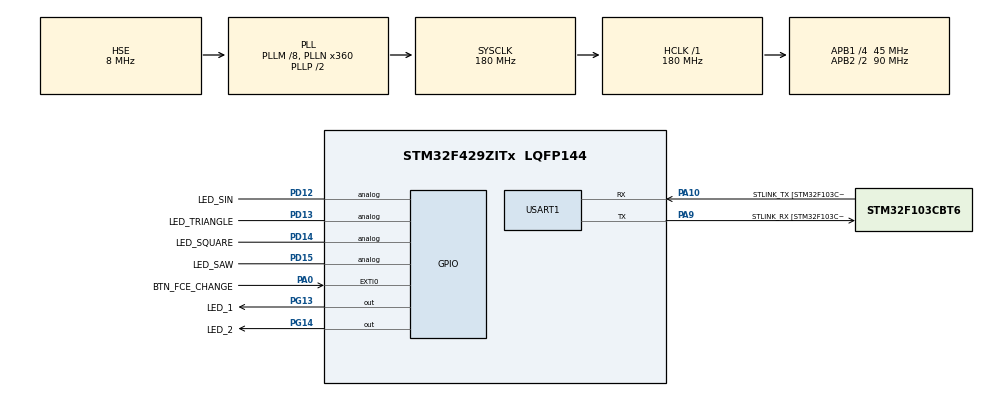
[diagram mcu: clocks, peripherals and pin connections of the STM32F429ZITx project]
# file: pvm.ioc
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Mcu.Family=STM32F4
Mcu.Name=STM32F429ZITx
Mcu.Package=LQFP144
NVIC.EXTI0_IRQn=true\:0\:0\:false\:false\:true\:true
NVIC.PriorityGroup=NVIC_PRIORITYGROUP_4
NVIC.TIM6_DAC_IRQn=true\:0\:0\:false\:false\:true\:false
NVIC.TimeBase=TIM6_DAC_IRQn
NVIC.TimeBaseIP=TIM6
PA0/WKUP.GPIO_Label=BTN_FCE_CHANGE
PA0/WKUP.GPIO_PuPd=GPIO_PULLDOWN
PA0/WKUP.Signal=GPXTI0
PA10.GPIO_Label=STLINK_TX [STM32F103CBT6_PA2]
PA10.Mode=Asynchronous
PA10.Signal=USART1_RX
PA13.GPIO_Label=SWDIO
PA13.Signal=SYS_JTMS-SWDIO
PA14.GPIO_Label=SWCLK
PA14.Signal=SYS_JTCK-SWCLK
PA9.GPIO_Label=STLINK_RX [STM32F103CBT6_PA3]
PA9.Mode=Asynchronous
PA9.Signal=USART1_TX
PC14/OSC32_IN.GPIO_Label=PC14-OSC32_IN
PC14/OSC32_IN.Signal=RCC_OSC32_IN
PC15/OSC32_OUT.GPIO_Label=PC15-OSC32_OUT
PC15/OSC32_OUT.Signal=RCC_OSC32_OUT
PD12.GPIO_Label=LED_SIN
PD12.Signal=GPIO_Analog
PD13.GPIO_Label=LED_TRIANGLE
PD13.Signal=GPIO_Analog
PD14.GPIO_Label=LED_SQUARE
PD14.Signal=GPIO_Analog
PD15.GPIO_Label=LED_SAW
PD15.Signal=GPIO_Analog
PG13.GPIO_Label=LED_1
PG13.Signal=GPIO_Output
PG14.GPIO_Label=LED_2
PG14.Signal=GPIO_Output
PH0/OSC_IN.Mode=HSE-External-Oscillator
PH0/OSC_IN.Signal=RCC_OSC_IN
PH1/OSC_OUT.Mode=HSE-External-Oscillator
PH1/OSC_OUT.Signal=RCC_OSC_OUT
ProjectManager.HeapSize=0x200
ProjectManager.StackSize=0x400
ProjectManager.TargetToolchain=SW4STM32
RCC.48MHZClocksFreq_Value=45000000
RCC.AHBFreq_Value=180000000
RCC.APB1CLKDivider=RCC_HCLK_DIV4
RCC.APB1Freq_Value=45000000
RCC.APB1TimFreq_Value=90000000
RCC.APB2CLKDivider=RCC_HCLK_DIV2
RCC.APB2Freq_Value=90000000
RCC.APB2TimFreq_Value=180000000
RCC.CortexFreq_Value=22500000
RCC.Cortex_Div=SYSTICK_CLKSOURCE_HCLK_DIV8
RCC.HCLKFreq_Value=180000000
RCC.HSE_VALUE=8000000
RCC.HSI_VALUE=16000000
RCC.LSE_VALUE=32768
RCC.PLLM=8
RCC.PLLN=360
RCC.PLLQ=8
RCC.PLLSAIN=420
RCC.PLLSourceVirtual=RCC_PLLSOURCE_HSE
RCC.SYSCLKFreq_VALUE=180000000
RCC.SYSCLKSource=RCC_SYSCLKSOURCE_PLLCLK
RCC.VCOOutputFreq_Value=360000000
USART1.VirtualMode=VM_ASYNC
VP_SYS_VS_tim6.Mode=TIM6
board=STM32F429I-DISC1

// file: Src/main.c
/**
  ******************************************************************************
  * File Name          : main.c
  * Description        : Main program body
  ******************************************************************************
  ** This notice applies to any and all portions of this file
  * that are not between comment pairs USER CODE BEGIN and
  * USER CODE END. Other portions of this file, whether
  * inserted by the user or by software development tools
  * are owned by their respective copyright owners.
  *
  * COPYRIGHT(c) 2018 STMicroelectronics
  *
  * Redistribution and use in source and binary forms, with or without modification,
  * are permitted provided that the following conditions are met:
  *   1. Redistributions of source code must retain the above copyright notice,
  *      this list of conditions and the following disclaimer.
  *   2. Redistributions in binary form must reproduce the above copyright notice,
  *      this list of conditions and the following disclaimer in the documentation
  *      and/or other materials provided with the distribution.
  *   3. Neither the name of STMicroelectronics nor the names of its contributors
  *      may be used to endorse or promote products derived from this software
  *      without specific prior written permission.
  *
  * THIS SOFTWARE IS PROVIDED BY THE COPYRIGHT HOLDERS AND CONTRIBUTORS "AS IS"
  * AND ANY EXPRESS OR IMPLIED WARRANTIES, INCLUDING, BUT NOT LIMITED TO, THE
  * IMPLIED WARRANTIES OF MERCHANTABILITY AND FITNESS FOR A PARTICULAR PURPOSE ARE
  * DISCLAIMED. IN NO EVENT SHALL THE COPYRIGHT HOLDER OR CONTRIBUTORS BE LIABLE
  * FOR ANY DIRECT, INDIRECT, INCIDENTAL, SPECIAL, EXEMPLARY, OR CONSEQUENTIAL
  * DAMAGES (INCLUDING, BUT NOT LIMITED TO, PROCUREMENT OF SUBSTITUTE GOODS OR
  * SERVICES; LOSS OF USE, DATA, OR PROFITS; OR BUSINESS INTERRUPTION) HOWEVER
  * CAUSED AND ON ANY THEORY OF LIABILITY, WHETHER IN CONTRACT, STRICT LIABILITY,
  * OR TORT (INCLUDING NEGLIGENCE OR OTHERWISE) ARISING IN ANY WAY OUT OF THE USE
  * OF THIS SOFTWARE, EVEN IF ADVISED OF THE POSSIBILITY OF SUCH DAMAGE.
  *
  ******************************************************************************
  */

#include "main.h"
#include "stm32f4xx_hal.h"

UART_HandleTypeDef huart1;

/* USER CODE BEGIN PV */
/* Private variables ---------------------------------------------------------*/
int global_function_index = 0;
/* USER CODE END PV */

void SystemClock_Config(void);
static void MX_GPIO_Init(void);
static void MX_USART1_UART_Init(void);

/* USER CODE BEGIN PFP */
/* Private function prototypes -----------------------------------------------*/

/* USER CODE END PFP */

/* USER CODE BEGIN 0 */
double pila(size_t time) {
	size_t x = time % 100;

	return (x+1) / 100.0;
}

double sinus(size_t time) {
	//size_t x = time % 100;

	return (sin(time/100.0)+1)/2;

//	if (x < 50) {
//		return x / 100.0;
//	}
//
//	return (100 - x) / 100.0;

}
/* USER CODE END 0 */

int main(void)
{

  /* USER CODE BEGIN 1 */
	double (*funkce[])(size_t time) = {
			pila,
			sinus
	};
  /* USER CODE END 1 */

  /* MCU Configuration----------------------------------------------------------*/

  /* Reset of all peripherals, Initializes the Flash interface and the Systick. */
  HAL_Init();

  /* Configure the system clock */
  SystemClock_Config();

  /* Initialize all configured peripherals */
  MX_GPIO_Init();
  MX_USART1_UART_Init();

  /* USER CODE BEGIN 2 */
  const int maxDelay = 10000;
  int delay = 100;
  int index = 1;
  double ratio = 0.5;
  /* USER CODE END 2 */

  /* Infinite loop */
  /* USER CODE BEGIN WHILE */
	for (size_t counter = 0;; counter++) {
  /* USER CODE END WHILE */

  /* USER CODE BEGIN 3 */
		delay = maxDelay * ratio;
		HAL_GPIO_WritePin(GPIOG, GPIO_PIN_13, GPIO_PIN_SET);
		delay_us((delay + 1));
		HAL_GPIO_WritePin(GPIOG, GPIO_PIN_13, GPIO_PIN_RESET);
		delay_us((maxDelay + 1) - delay);

		//if ((counter % 3) == 0) {
		ratio = funkce[global_function_index](counter);
		//}

		//		if ((counter % 3) == 0) {
		//			delay += increment;
		//
		//			if (delay == maxDelay) {
		//				//delay = 100;
		//				increment = -100;
		//			} else if (delay == 0) {
		//				increment = 100;
		//			}
		//		}

	}
  /* USER CODE END 3 */

}

/** System Clock Configuration
*/
void SystemClock_Config(void)
{

  RCC_OscInitTypeDef RCC_OscInitStruct;
  RCC_ClkInitTypeDef RCC_ClkInitStruct;

    /**Configure the main internal regulator output voltage
    */
  __HAL_RCC_PWR_CLK_ENABLE();

  __HAL_PWR_VOLTAGESCALING_CONFIG(PWR_REGULATOR_VOLTAGE_SCALE1);

    /**Initializes the CPU, AHB and APB busses clocks
    */
  RCC_OscInitStruct.OscillatorType = RCC_OSCILLATORTYPE_HSE;
  RCC_OscInitStruct.HSEState = RCC_HSE_ON;
  RCC_OscInitStruct.PLL.PLLState = RCC_PLL_ON;
  RCC_OscInitStruct.PLL.PLLSource = RCC_PLLSOURCE_HSE;
  RCC_OscInitStruct.PLL.PLLM = 8;
  RCC_OscInitStruct.PLL.PLLN = 360;
  RCC_OscInitStruct.PLL.PLLP = RCC_PLLP_DIV2;
  RCC_OscInitStruct.PLL.PLLQ = 8;
  if (HAL_RCC_OscConfig(&RCC_OscInitStruct) != HAL_OK)
  {
    _Error_Handler(__FILE__, __LINE__);
  }

    /**Activate the Over-Drive mode
    */
  if (HAL_PWREx_EnableOverDrive() != HAL_OK)
  {
    _Error_Handler(__FILE__, __LINE__);
  }

    /**Initializes the CPU, AHB and APB busses clocks
    */
  RCC_ClkInitStruct.ClockType = RCC_CLOCKTYPE_HCLK|RCC_CLOCKTYPE_SYSCLK
                              |RCC_CLOCKTYPE_PCLK1|RCC_CLOCKTYPE_PCLK2;
  RCC_ClkInitStruct.SYSCLKSource = RCC_SYSCLKSOURCE_PLLCLK;
  RCC_ClkInitStruct.AHBCLKDivider = RCC_SYSCLK_DIV1;
  RCC_ClkInitStruct.APB1CLKDivider = RCC_HCLK_DIV4;
  RCC_ClkInitStruct.APB2CLKDivider = RCC_HCLK_DIV2;

  if (HAL_RCC_ClockConfig(&RCC_ClkInitStruct, FLASH_LATENCY_5) != HAL_OK)
  {
    _Error_Handler(__FILE__, __LINE__);
  }

    /**Configure the Systick interrupt time
    */
  HAL_SYSTICK_Config(HAL_RCC_GetHCLKFreq()/8000);

    /**Configure the Systick
    */
  HAL_SYSTICK_CLKSourceConfig(SYSTICK_CLKSOURCE_HCLK_DIV8);

  /* SysTick_IRQn interrupt configuration */
  HAL_NVIC_SetPriority(SysTick_IRQn, 0, 0);
}

/* USART1 init function */
static void MX_USART1_UART_Init(void)
{

  huart1.Instance = USART1;
  huart1.Init.BaudRate = 115200;
  huart1.Init.WordLength = UART_WORDLENGTH_8B;
  huart1.Init.StopBits = UART_STOPBITS_1;
  huart1.Init.Parity = UART_PARITY_NONE;
  huart1.Init.Mode = UART_MODE_TX_RX;
  huart1.Init.HwFlowCtl = UART_HWCONTROL_NONE;
  huart1.Init.OverSampling = UART_OVERSAMPLING_16;
  if (HAL_UART_Init(&huart1) != HAL_OK)
  {
    _Error_Handler(__FILE__, __LINE__);
  }

}

/** Configure pins as
        * Analog
        * Input
        * Output
        * EVENT_OUT
        * EXTI
        * Free pins are configured automatically as Analog (this feature is enabled through
        * the Code Generation settings)
*/
static void MX_GPIO_Init(void)
{

  GPIO_InitTypeDef GPIO_InitStruct;

  /* GPIO Ports Clock Enable */
  __HAL_RCC_GPIOE_CLK_ENABLE();
  __HAL_RCC_GPIOC_CLK_ENABLE();
  __HAL_RCC_GPIOF_CLK_ENABLE();
  __HAL_RCC_GPIOH_CLK_ENABLE();
  __HAL_RCC_GPIOA_CLK_ENABLE();
  __HAL_RCC_GPIOB_CLK_ENABLE();
  __HAL_RCC_GPIOG_CLK_ENABLE();
  __HAL_RCC_GPIOD_CLK_ENABLE();

  /*Configure GPIO pin Output Level */
  HAL_GPIO_WritePin(GPIOG, LED_1_Pin|LED_2_Pin, GPIO_PIN_RESET);

  /*Configure GPIO pins : PE2 PE3 PE4 PE5
                           PE6 PE7 PE8 PE9
                           PE10 PE11 PE12 PE13
                           PE14 PE15 PE0 PE1 */
  GPIO_InitStruct.Pin = GPIO_PIN_2|GPIO_PIN_3|GPIO_PIN_4|GPIO_PIN_5
                          |GPIO_PIN_6|GPIO_PIN_7|GPIO_PIN_8|GPIO_PIN_9
                          |GPIO_PIN_10|GPIO_PIN_11|GPIO_PIN_12|GPIO_PIN_13
                          |GPIO_PIN_14|GPIO_PIN_15|GPIO_PIN_0|GPIO_PIN_1;
  GPIO_InitStruct.Mode = GPIO_MODE_ANALOG;
  GPIO_InitStruct.Pull = GPIO_NOPULL;
  HAL_GPIO_Init(GPIOE, &GPIO_InitStruct);

  /*Configure GPIO pins : PC13 PC0 PC1 PC2
                           PC3 PC4 PC5 PC6
                           PC7 PC8 PC9 PC10
                           PC11 PC12 */
  GPIO_InitStruct.Pin = GPIO_PIN_13|GPIO_PIN_0|GPIO_PIN_1|GPIO_PIN_2
                          |GPIO_PIN_3|GPIO_PIN_4|GPIO_PIN_5|GPIO_PIN_6
                          |GPIO_PIN_7|GPIO_PIN_8|GPIO_PIN_9|GPIO_PIN_10
                          |GPIO_PIN_11|GPIO_PIN_12;
  GPIO_InitStruct.Mode = GPIO_MODE_ANALOG;
  GPIO_InitStruct.Pull = GPIO_NOPULL;
  HAL_GPIO_Init(GPIOC, &GPIO_InitStruct);

  /*Configure GPIO pins : PF0 PF1 PF2 PF3
                           PF4 PF5 PF6 PF7
                           PF8 PF9 PF10 PF11
                           PF12 PF13 PF14 PF15 */
  GPIO_InitStruct.Pin = GPIO_PIN_0|GPIO_PIN_1|GPIO_PIN_2|GPIO_PIN_3
                          |GPIO_PIN_4|GPIO_PIN_5|GPIO_PIN_6|GPIO_PIN_7
                          |GPIO_PIN_8|GPIO_PIN_9|GPIO_PIN_10|GPIO_PIN_11
                          |GPIO_PIN_12|GPIO_PIN_13|GPIO_PIN_14|GPIO_PIN_15;
  GPIO_InitStruct.Mode = GPIO_MODE_ANALOG;
  GPIO_InitStruct.Pull = GPIO_NOPULL;
  HAL_GPIO_Init(GPIOF, &GPIO_InitStruct);

  /*Configure GPIO pin : BTN_FCE_CHANGE_Pin */
  GPIO_InitStruct.Pin = BTN_FCE_CHANGE_Pin;
  GPIO_InitStruct.Mode = GPIO_MODE_IT_RISING;
  GPIO_InitStruct.Pull = GPIO_PULLDOWN;
  HAL_GPIO_Init(BTN_FCE_CHANGE_GPIO_Port, &GPIO_InitStruct);

  /*Configure GPIO pins : PA1 PA2 PA3 PA4
                           PA5 PA6 PA7 PA8
                           PA11 PA12 PA15 */
  GPIO_InitStruct.Pin = GPIO_PIN_1|GPIO_PIN_2|GPIO_PIN_3|GPIO_PIN_4
                          |GPIO_PIN_5|GPIO_PIN_6|GPIO_PIN_7|GPIO_PIN_8
                          |GPIO_PIN_11|GPIO_PIN_12|GPIO_PIN_15;
  GPIO_InitStruct.Mode = GPIO_MODE_ANALOG;
  GPIO_InitStruct.Pull = GPIO_NOPULL;
  HAL_GPIO_Init(GPIOA, &GPIO_InitStruct);

  /*Configure GPIO pins : PB0 PB1 PB2 PB10
                           PB11 PB12 PB13 PB14
                           PB15 PB3 PB4 PB5
                           PB6 PB7 PB8 PB9 */
  GPIO_InitStruct.Pin = GPIO_PIN_0|GPIO_PIN_1|GPIO_PIN_2|GPIO_PIN_10
                          |GPIO_PIN_11|GPIO_PIN_12|GPIO_PIN_13|GPIO_PIN_14
                          |GPIO_PIN_15|GPIO_PIN_3|GPIO_PIN_4|GPIO_PIN_5
                          |GPIO_PIN_6|GPIO_PIN_7|GPIO_PIN_8|GPIO_PIN_9;
  GPIO_InitStruct.Mode = GPIO_MODE_ANALOG;
  GPIO_InitStruct.Pull = GPIO_NOPULL;
  HAL_GPIO_Init(GPIOB, &GPIO_InitStruct);

  /*Configure GPIO pins : PG0 PG1 PG2 PG3
                           PG4 PG5 PG6 PG7
                           PG8 PG9 PG10 PG11
                           PG12 PG15 */
  GPIO_InitStruct.Pin = GPIO_PIN_0|GPIO_PIN_1|GPIO_PIN_2|GPIO_PIN_3
                          |GPIO_PIN_4|GPIO_PIN_5|GPIO_PIN_6|GPIO_PIN_7
                          |GPIO_PIN_8|GPIO_PIN_9|GPIO_PIN_10|GPIO_PIN_11
                          |GPIO_PIN_12|GPIO_PIN_15;
  GPIO_InitStruct.Mode = GPIO_MODE_ANALOG;
  GPIO_InitStruct.Pull = GPIO_NOPULL;
  HAL_GPIO_Init(GPIOG, &GPIO_InitStruct);

  /*Configure GPIO pins : PD8 PD9 PD10 PD11
                           LED_SIN_Pin LED_TRIANGLE_Pin LED_SQUARE_Pin LED_SAW_Pin
                           PD0 PD1 PD2 PD3
                           PD4 PD5 PD6 PD7 */
  GPIO_InitStruct.Pin = GPIO_PIN_8|GPIO_PIN_9|GPIO_PIN_10|GPIO_PIN_11
                          |LED_SIN_Pin|LED_TRIANGLE_Pin|LED_SQUARE_Pin|LED_SAW_Pin
                          |GPIO_PIN_0|GPIO_PIN_1|GPIO_PIN_2|GPIO_PIN_3
                          |GPIO_PIN_4|GPIO_PIN_5|GPIO_PIN_6|GPIO_PIN_7;
  GPIO_InitStruct.Mode = GPIO_MODE_ANALOG;
  GPIO_InitStruct.Pull = GPIO_NOPULL;
  HAL_GPIO_Init(GPIOD, &GPIO_InitStruct);

  /*Configure GPIO pins : LED_1_Pin LED_2_Pin */
  GPIO_InitStruct.Pin = LED_1_Pin|LED_2_Pin;
  GPIO_InitStruct.Mode = GPIO_MODE_OUTPUT_PP;
  GPIO_InitStruct.Pull = GPIO_NOPULL;
  GPIO_InitStruct.Speed = GPIO_SPEED_FREQ_LOW;
  HAL_GPIO_Init(GPIOG, &GPIO_InitStruct);

  /* EXTI interrupt init*/
  HAL_NVIC_SetPriority(EXTI0_IRQn, 0, 0);
  HAL_NVIC_EnableIRQ(EXTI0_IRQn);

}

/* USER CODE BEGIN 4 */
void HAL_GPIO_EXTI_Callback(uint16_t GPIO_Pin) {
	global_function_index++;

	if (global_function_index == 2)
		global_function_index = 0;
}
/* USER CODE END 4 */

void HAL_TIM_PeriodElapsedCallback(TIM_HandleTypeDef *htim)
{
  if (htim->Instance == TIM6) {
    HAL_IncTick();
  }
}

void _Error_Handler(char * file, int line)
{
  while(1)
  {
  }
}

/************************ (C) COPYRIGHT STMicroelectronics *****END OF FILE****/
